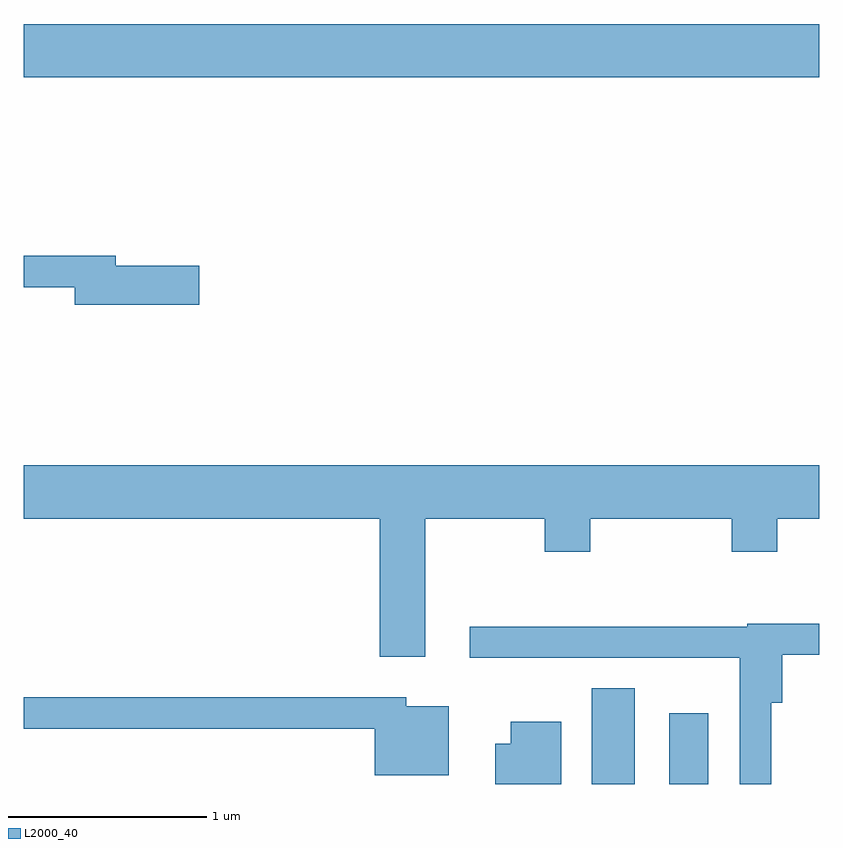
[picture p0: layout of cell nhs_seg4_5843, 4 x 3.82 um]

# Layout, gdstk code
import gdstk
lib = gdstk.Library(unit=1e-6, precision=1e-09)
def R(c, l, rs):  # rectangles x0, y0, x1, y1
    for r in rs: c.add(gdstk.rectangle(r[:2], r[2:], *l))
def P(c, l, *ps):  # polygons
    for p in ps: c.add(gdstk.Polygon(p, *l))
L2000_40 = (2000, 40)

nhs_seg4_5843 = lib.new_cell('nhs_seg4_5843')
R(nhs_seg4_5843, L2000_40, [(358.466,1379.982,358.684,1380.464), (358.856,1379.982,359.054,1380.339), (355.611,1383.536,359.611,1383.804)])
P(nhs_seg4_5843, L2000_40, [(356.494,1382.589),(356.074,1382.589),(356.074,1382.639),(355.611,1382.639),(355.611,1382.481),(355.866,1382.481),(355.866,1382.391),(356.494,1382.391)],
  [(357.629,1381.316),(358.231,1381.316),(358.231,1381.151),(358.459,1381.151),(358.459,1381.316),(359.171,1381.316),(359.171,1381.151),(359.399,1381.151),(359.399,1381.316),(359.611,1381.316),(359.611,1381.584),(355.611,1381.584),(355.611,1381.316),(357.401,1381.316),(357.401,1380.621),(357.629,1380.621)],
  [(359.369,1380.391),(359.424,1380.391),(359.424,1380.631),(359.611,1380.631),(359.611,1380.789),(359.25,1380.789),(359.25,1380.774),(357.853,1380.774),(357.853,1380.616),(359.211,1380.616),(359.211,1379.982),(359.369,1379.982)],
  [(357.749,1380.374),(357.534,1380.374),(357.534,1380.419),(355.611,1380.419),(355.611,1380.261),(357.376,1380.261),(357.376,1380.026),(357.749,1380.026)],
  [(358.314,1380.294),(358.061,1380.294),(358.061,1380.184),(357.981,1380.184),(357.981,1379.982),(358.314,1379.982)])

lib.write_gds('nhs_seg4_5843.gds')
